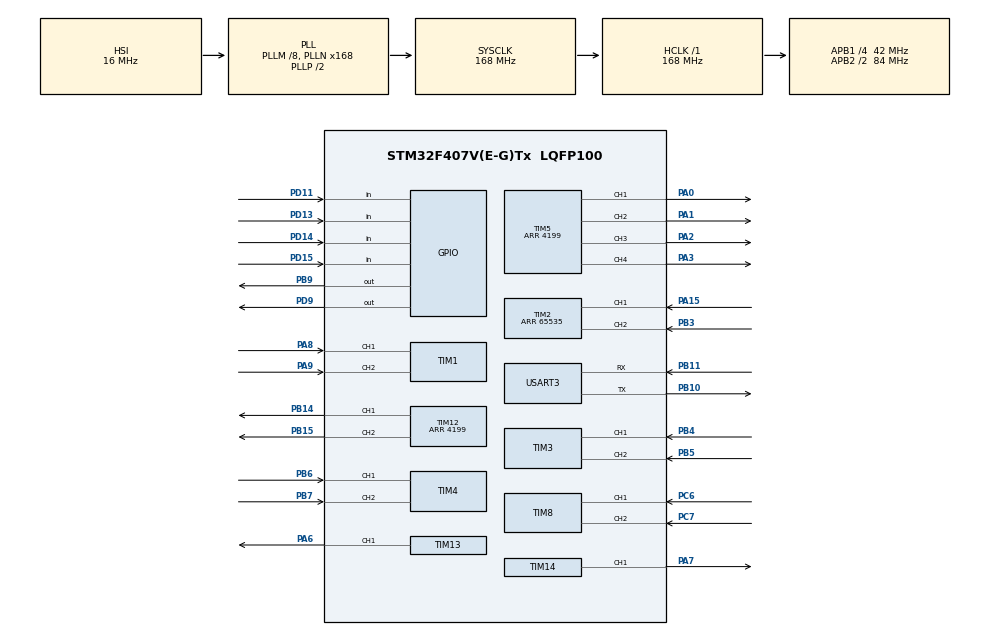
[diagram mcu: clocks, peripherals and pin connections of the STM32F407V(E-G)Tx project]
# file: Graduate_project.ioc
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Dma.Request0=USART3_RX
Dma.Request1=USART3_TX
Dma.USART3_RX.0.Direction=DMA_PERIPH_TO_MEMORY
Dma.USART3_RX.0.FIFOMode=DMA_FIFOMODE_DISABLE
Dma.USART3_RX.0.Instance=DMA1_Stream1
Dma.USART3_RX.0.MemDataAlignment=DMA_MDATAALIGN_BYTE
Dma.USART3_RX.0.MemInc=DMA_MINC_ENABLE
Dma.USART3_RX.0.Mode=DMA_CIRCULAR
Dma.USART3_RX.0.PeriphDataAlignment=DMA_PDATAALIGN_BYTE
Dma.USART3_RX.0.PeriphInc=DMA_PINC_DISABLE
Dma.USART3_RX.0.Priority=DMA_PRIORITY_VERY_HIGH
Dma.USART3_TX.1.Direction=DMA_MEMORY_TO_PERIPH
Dma.USART3_TX.1.FIFOMode=DMA_FIFOMODE_DISABLE
Dma.USART3_TX.1.Instance=DMA1_Stream3
Dma.USART3_TX.1.MemDataAlignment=DMA_MDATAALIGN_BYTE
Dma.USART3_TX.1.MemInc=DMA_MINC_ENABLE
Dma.USART3_TX.1.Mode=DMA_NORMAL
Dma.USART3_TX.1.PeriphDataAlignment=DMA_PDATAALIGN_BYTE
Dma.USART3_TX.1.PeriphInc=DMA_PINC_DISABLE
Dma.USART3_TX.1.Priority=DMA_PRIORITY_HIGH
Mcu.Family=STM32F4
Mcu.Name=STM32F407V(E-G)Tx
Mcu.Package=LQFP100
NVIC.DMA1_Stream1_IRQn=true\:0\:0\:false\:false\:true\:false\:true\:true
NVIC.DMA1_Stream3_IRQn=true\:0\:0\:false\:false\:true\:false\:true\:true
NVIC.PriorityGroup=NVIC_PRIORITYGROUP_4
NVIC.TIM1_BRK_TIM9_IRQn=true\:0\:0\:false\:false\:true\:true\:true\:true
NVIC.USART3_IRQn=true\:0\:0\:false\:false\:true\:true\:true\:true
PA0-WKUP.Signal=S_TIM5_CH1
PA1.Signal=S_TIM5_CH2
PA15.Signal=S_TIM2_CH1_ETR
PA2.Signal=S_TIM5_CH3
PA3.Signal=S_TIM5_CH4
PA6.Signal=S_TIM13_CH1
PA7.Signal=S_TIM14_CH1
PA8.Signal=S_TIM1_CH1
PA9.Signal=S_TIM1_CH2
PB10.Mode=Asynchronous
PB10.Signal=USART3_TX
PB11.Mode=Asynchronous
PB11.Signal=USART3_RX
PB14.Signal=S_TIM12_CH1
PB15.Signal=S_TIM12_CH2
PB3.Signal=S_TIM2_CH2
PB4.Signal=S_TIM3_CH1
PB5.Signal=S_TIM3_CH2
PB6.Signal=S_TIM4_CH1
PB7.Signal=S_TIM4_CH2
PB9.Signal=GPIO_Output
PC6.Signal=S_TIM8_CH1
PC7.Signal=S_TIM8_CH2
PD11.GPIO_PuPd=GPIO_PULLUP
PD11.Signal=GPIO_Input
PD13.GPIO_PuPd=GPIO_PULLUP
PD13.Signal=GPIO_Input
PD14.GPIO_PuPd=GPIO_PULLUP
PD14.Signal=GPIO_Input
PD15.GPIO_PuPd=GPIO_PULLUP
PD15.Signal=GPIO_Input
PD9.GPIO_PuPd=GPIO_NOPULL
PD9.Signal=GPIO_Output
PH0-OSC_IN.Mode=HSE-External-Oscillator
PH0-OSC_IN.Signal=RCC_OSC_IN
PH1-OSC_OUT.Mode=HSE-External-Oscillator
PH1-OSC_OUT.Signal=RCC_OSC_OUT
ProjectManager.HeapSize=0x200
ProjectManager.StackSize=0x400
ProjectManager.TargetToolchain=MDK-ARM V5
RCC.48MHZClocksFreq_Value=84000000
RCC.AHBFreq_Value=168000000
RCC.APB1CLKDivider=RCC_HCLK_DIV4
RCC.APB1Freq_Value=42000000
RCC.APB1TimFreq_Value=84000000
RCC.APB2CLKDivider=RCC_HCLK_DIV2
RCC.APB2Freq_Value=84000000
RCC.APB2TimFreq_Value=168000000
RCC.CortexFreq_Value=168000000
RCC.HCLKFreq_Value=168000000
RCC.HSE_VALUE=25000000
RCC.HSI_VALUE=16000000
RCC.LSE_VALUE=32768
RCC.PLLM=8
RCC.PLLN=168
RCC.SYSCLKFreq_VALUE=168000000
RCC.SYSCLKSource=RCC_SYSCLKSOURCE_PLLCLK
RCC.VCOOutputFreq_Value=336000000
SH.S_TIM12_CH1.0=TIM12_CH1,PWM Generation1 CH1
SH.S_TIM12_CH2.0=TIM12_CH2,PWM Generation2 CH2
SH.S_TIM13_CH1.0=TIM13_CH1,PWM Generation1 CH1
SH.S_TIM14_CH1.0=TIM14_CH1,PWM Generation1 CH1
SH.S_TIM1_CH1.0=TIM1_CH1,Encoder_Interface
SH.S_TIM1_CH2.0=TIM1_CH2,Encoder_Interface
SH.S_TIM2_CH1_ETR.0=TIM2_CH1,Encoder_Interface
SH.S_TIM2_CH2.0=TIM2_CH2,Encoder_Interface
SH.S_TIM3_CH1.0=TIM3_CH1,Encoder_Interface
SH.S_TIM3_CH2.0=TIM3_CH2,Encoder_Interface
SH.S_TIM4_CH1.0=TIM4_CH1,Encoder_Interface
SH.S_TIM4_CH2.0=TIM4_CH2,Encoder_Interface
SH.S_TIM5_CH1.0=TIM5_CH1,PWM Generation1 CH1
SH.S_TIM5_CH2.0=TIM5_CH2,PWM Generation2 CH2
SH.S_TIM5_CH3.0=TIM5_CH3,PWM Generation3 CH3
SH.S_TIM5_CH4.0=TIM5_CH4,PWM Generation4 CH4
SH.S_TIM8_CH1.0=TIM8_CH1,Encoder_Interface
SH.S_TIM8_CH2.0=TIM8_CH2,Encoder_Interface
TIM1.EncoderMode=TIM_ENCODERMODE_TI12
TIM12.Channel-PWM\ Generation1\ CH1=TIM_CHANNEL_1
TIM12.Channel-PWM\ Generation2\ CH2=TIM_CHANNEL_2
TIM12.Period=4199
TIM13.Channel=TIM_CHANNEL_1
TIM13.Period=4199
TIM14.Channel=TIM_CHANNEL_1
TIM14.Period=4199
TIM2.EncoderMode=TIM_ENCODERMODE_TI12
TIM2.Period=65535
TIM3.EncoderMode=TIM_ENCODERMODE_TI12
TIM4.EncoderMode=TIM_ENCODERMODE_TI12
TIM5.Channel-PWM\ Generation1\ CH1=TIM_CHANNEL_1
TIM5.Channel-PWM\ Generation2\ CH2=TIM_CHANNEL_2
TIM5.Channel-PWM\ Generation3\ CH3=TIM_CHANNEL_3
TIM5.Channel-PWM\ Generation4\ CH4=TIM_CHANNEL_4
TIM5.Period=4199
TIM8.EncoderMode=TIM_ENCODERMODE_TI12
TIM9.Period=999
TIM9.Prescaler=167
USART3.VirtualMode=VM_ASYNC
VP_TIM13_VS_ClockSourceINT.Mode=Enable_Timer
VP_TIM14_VS_ClockSourceINT.Mode=Enable_Timer
VP_TIM9_VS_ClockSourceINT.Mode=Internal
board=custom

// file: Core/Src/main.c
/* USER CODE BEGIN Header */
/**
  ******************************************************************************
  * @file           : main.c
  * @brief          : Main program body
  ******************************************************************************
  * @attention
  *
  * Copyright (c) 2026 STMicroelectronics.
  * All rights reserved.
  *
  * This software is licensed under terms that can be found in the LICENSE file
  * in the root directory of this software component.
  * If no LICENSE file comes with this software, it is provided AS-IS.
  *
  ******************************************************************************
  */
/* USER CODE END Header */
#include "main.h"

/* USER CODE BEGIN Includes */
#include "motor.h"
#include "encoder.h"
#include "pid.h"
#include "trap_profile.h"
#include "comm.h"
#include "control.h"
#include "home_sen.h"
#include "gripper.h"
#include <math.h>
/* USER CODE END Includes */

/* USER CODE BEGIN PD */
/* ---- Cau hinh chung ---- */
#define PWM_LIMIT     4199           /* duty toi da = ARR cua TIM5/12/13/14 (PWM 20 kHz) */
/* He so doi chi dung cho gia tri MAC DINH luc khoi dong (VMAX/AMAX). Khi Connect, GUI gui lai toan bo cau hinh
   (VMAX, AMAX, DB, LIMIT, HPOS...) da doi ra counts theo Settings -> Encoder (data/robot_config.json) cua PC.
   Theo cau hinh hien tai: J1/J2 = 436800 counts/vong x dai 3:1, J3 = 76500 counts/vong, Z = 436800 counts / 8 mm. */
#define MM_Z(x)       ((x) * 436800.0f / 8.0f)              /* Z: mm -> counts  (54600 counts/mm) */
#define DEG_J12(x)    ((x) * 436800.0f * 3.0f / 360.0f)     /* J1, J2: do -> counts (3640 counts/do) */
#define DEG_J3(x)     ((x) * 76500.0f / 360.0f)             /* J3: do -> counts (212.5 counts/do) */

/* Vi tri gan cho encoder khi cham cam bien home KHONG dat o day nua: PC gui lenh "HPOS <id> <counts>" luc
   Connect/Apply, doi tu Settings -> Joint Limits + Home (do/mm) bang dung he so encoder cua PC. */
/* USER CODE END PD */

TIM_HandleTypeDef htim1;
TIM_HandleTypeDef htim2;
TIM_HandleTypeDef htim3;
TIM_HandleTypeDef htim4;
TIM_HandleTypeDef htim5;
TIM_HandleTypeDef htim8;
TIM_HandleTypeDef htim9;
TIM_HandleTypeDef htim12;
TIM_HandleTypeDef htim13;
TIM_HandleTypeDef htim14;

UART_HandleTypeDef huart3;
DMA_HandleTypeDef hdma_usart3_rx;
DMA_HandleTypeDef hdma_usart3_tx;

/* USER CODE BEGIN PV */
/* Cac module (dang struct): phan cung duoc truyen vao luc init trong USER CODE 2 */
static Motor_t       motor[CONTROL_COUNT];
static Encoder_t     encoder[CONTROL_COUNT];
static PID_t         pid[CONTROL_COUNT];
static TrapProfile_t trap[CONTROL_COUNT];
static Comm_t        comm;
static ControlSet_t  ctrl;
static HomeSen_t     home_sen[CONTROL_COUNT];     /* cam bien home, cung chi so voi dong co (0 = Motor 1 = Z ...) */
static Gripper_t     gripper;                     /* kep: PD9, HIGH = DONG */
/* USER CODE END PV */

void SystemClock_Config(void);
static void MX_GPIO_Init(void);
static void MX_DMA_Init(void);
static void MX_TIM1_Init(void);
static void MX_TIM3_Init(void);
static void MX_TIM4_Init(void);
static void MX_TIM5_Init(void);
static void MX_TIM8_Init(void);
static void MX_TIM9_Init(void);
static void MX_TIM12_Init(void);
static void MX_TIM13_Init(void);
static void MX_TIM14_Init(void);
static void MX_USART3_UART_Init(void);
static void MX_TIM2_Init(void);

/* USER CODE BEGIN 0 */
/* Callback HAL -> chuyen cho module tuong ung */
void HAL_TIM_PeriodElapsedCallback(TIM_HandleTypeDef *htim)
{
  if (htim->Instance == TIM9) ControlSet_Tick(&ctrl);       /* 1 kHz, ca 4 dong co */
}

void HAL_UART_TxCpltCallback(UART_HandleTypeDef *huart)
{
  Comm_TxCplt(&comm, huart);
}

void HAL_UART_ErrorCallback(UART_HandleTypeDef *huart)
{
  Comm_Error(&comm, huart);
}
/* USER CODE END 0 */

int main(void)
{

  /* MCU Configuration--------------------------------------------------------*/

  /* Reset of all peripherals, Initializes the Flash interface and the Systick. */
  HAL_Init();

  /* Configure the system clock */
  SystemClock_Config();

  /* Initialize all configured peripherals */
  MX_GPIO_Init();
  MX_DMA_Init();
  MX_TIM1_Init();
  MX_TIM3_Init();
  MX_TIM4_Init();
  MX_TIM5_Init();
  MX_TIM8_Init();
  MX_TIM9_Init();
  MX_TIM12_Init();
  MX_TIM13_Init();
  MX_TIM14_Init();
  MX_USART3_UART_Init();
  MX_TIM2_Init();
  /* USER CODE BEGIN 2 */
  /* Noi phan cung (CubeMX) vao tung dong co. EN chung = PB9 (HIGH ngay khi Motor_Init). */
  struct {
    TIM_HandleTypeDef *t_fwd; uint32_t ch_fwd;      /* RPWM */
    TIM_HandleTypeDef *t_rev; uint32_t ch_rev;      /* LPWM */
    TIM_HandleTypeDef *t_enc; int8_t   enc_sign;    /* encoder x4; sign = -1 neu dem nguoc chieu quay duong */
    float vmax, amax;                               /* mac dinh (counts/s, counts/s^2), GUI se gui lai khi Connect */
    int32_t deadband;                               /* vung chet mac dinh (counts) */
  } cfg[CONTROL_COUNT] = {
    { &htim12, TIM_CHANNEL_1, &htim13, TIM_CHANNEL_1, &htim8, +1, MM_Z(5.0f),     MM_Z(20.0f),     191 },  /* Motor 1: Z  vit-me (mm) */
    { &htim5,  TIM_CHANNEL_3, &htim5,  TIM_CHANNEL_1, &htim2, -1, DEG_J12(30.0f), DEG_J12(60.0f),    5 },  /* Motor 2: J1 (do)        */
    { &htim5,  TIM_CHANNEL_2, &htim5,  TIM_CHANNEL_4, &htim3, +1, DEG_J12(30.0f), DEG_J12(60.0f),    5 },  /* Motor 3: J2 (do)        */
    { &htim14, TIM_CHANNEL_1, &htim12, TIM_CHANNEL_2, &htim4, -1, DEG_J3(30.0f),  DEG_J3(60.0f),     5 },  /* Motor 4: J3 (do)        */
  };

  Comm_Init(&comm, &huart3, ControlSet_OnLine, &ctrl);       /* USART3 + DMA */
  ControlSet_Init(&ctrl, &comm);
  for (int i = 0; i < CONTROL_COUNT; i++) {
    Motor_Init(&motor[i], cfg[i].t_fwd, cfg[i].ch_fwd, cfg[i].t_rev, cfg[i].ch_rev, GPIOB, GPIO_PIN_9, PWM_LIMIT);
    Encoder_Init(&encoder[i], cfg[i].t_enc, cfg[i].enc_sign);
    PID_Init(&pid[i], 4.2f, 0.0f, 0.0f, (float)PWM_LIMIT);   /* Kp, Ki, Kd mac dinh (GUI se gui lai khi Connect) */
    TrapProfile_Init(&trap[i], cfg[i].vmax, cfg[i].amax);
    Control_Init(&ctrl.m[i], (uint8_t)(i + 1), &motor[i], &encoder[i], &pid[i], &trap[i], &comm, cfg[i].deadband);
  }

  /* Bao ve KET / QUA TAI (FAULT stall, xem control.h): |PWM| trung binh >= 70 % ma trong 0,5 s truc di chua duoc quang
     duoi day -> phanh + FAULT. Day la MAC DINH luc khoi dong; khi Connect PC gui lai bang lenh STALL (Settings -> Fault). */
  Control_SetStallDist(&ctrl.m[0], (int32_t)MM_Z(0.2f));        /* Motor 1: Z  0,2 mm */
  Control_SetStallDist(&ctrl.m[1], (int32_t)DEG_J12(0.5f));     /* Motor 2: J1 0,5 do */
  Control_SetStallDist(&ctrl.m[2], (int32_t)DEG_J12(0.5f));     /* Motor 3: J2 0,5 do */
  Control_SetStallDist(&ctrl.m[3], (int32_t)DEG_J3(0.5f));      /* Motor 4: J3 0,5 do */

  /* ---- Cam bien HOME (lenh "HOMING <id>" tu PC; xem home_sen.h) ----
     HomeSen_Init(cam bien, port, chan, toc do tim (% VMAX), chieu tim, timeout (ms))
       - vi tri home : KHONG dat o day -- PC gui "HPOS <id> <counts>" (Settings -> Joint Limits + Home, cot Home)
       - toc do tim  : % cua VMAX dang dung (GUI gui VMAX luc Connect), nen de cham (vd 50..80)
       - chieu tim   : +1 = chay theo chieu counts TANG, -1 = GIAM (tinh theo counts cua firmware,
                       chua tinh Direction Normal/Reverse ben PC; neu chay nham chieu thi doi dau o day)
       - timeout     : qua ngan nay ma chua cham thi FAULT home. Z cham hon nen can lau hon: hanh trinh 150 mm
                       o 80% x 5 mm/s = 4 mm/s mat ~38 s.
     Truc nao CHUA co cam bien: comment dong HomeSen_Init cua truc do (vong lap Control_SetHome ben duoi tu bo qua).
     Khi do firmware tra "ERR HOMING <id> nosensor" va PC bo qua truc do luc HOME (khong bao loi); truc do giu moc vi tri
     luc cap nguon. Lap xong cam bien thi bo comment la dung. */
  /* TAM TAT Z de test HOME 3 truc J1/J2/J3: PC bo qua Z (nosensor), Z khong nhan lenh nen PID tat, motor dung yen.
     Test xong thi bo comment dong duoi. */
  /* HomeSen_Init(&home_sen[0], GPIOD, GPIO_PIN_14, 60, +1, 60000); */   /* Motor 1: Z  (len)  */
  HomeSen_Init(&home_sen[1], GPIOD, GPIO_PIN_15, 60, -1, 10000);   /* Motor 2: J1 (giam) */
  HomeSen_Init(&home_sen[2], GPIOD, GPIO_PIN_13, 60, -1, 10000);   /* Motor 3: J2 (giam) */
  HomeSen_Init(&home_sen[3], GPIOD, GPIO_PIN_11, 80, -1, 10000);   /* Motor 4: J3 (giam) */
  for (int i = 0; i < CONTROL_COUNT; i++)
    if (home_sen[i].port != NULL) Control_SetHome(&ctrl.m[i], &home_sen[i]);          /* chi gan cho cam bien da HomeSen_Init */

  /* ---- Kep (lenh "GRIP <0|1>" tu PC): PD9 output (CubeMX), HIGH = DONG, khoi dong = MO ---- */
  Gripper_Init(&gripper, GPIOD, GPIO_PIN_9, GPIO_PIN_SET);
  ControlSet_SetGripper(&ctrl, &gripper);

  /* Uu tien ngat: vong dieu khien TIM9 cao nhat, UART/DMA thap hon (khong can sua CubeMX) */
  HAL_NVIC_SetPriority(TIM1_BRK_TIM9_IRQn, 0, 0);
  HAL_NVIC_SetPriority(USART3_IRQn, 1, 0);
  HAL_NVIC_SetPriority(DMA1_Stream1_IRQn, 1, 0);
  HAL_NVIC_SetPriority(DMA1_Stream3_IRQn, 1, 0);

  HAL_TIM_Base_Start_IT(&htim9);                             /* 1 kHz: ControlSet_Tick() */
  Comm_SendStr(&comm, "BOOT\n");
  /* USER CODE END 2 */

  /* Infinite loop */
  while (1)
  {

    /* USER CODE BEGIN 3 */
    ControlSet_Poll(&ctrl);   /* FAULT + telemetry 50 Hz cua dong co duoc chon -> hang doi TX */
    Comm_Poll(&comm);      /* RX: tach dong + thuc thi lenh; TX: day hang doi ra UART bang DMA */
  }
  /* USER CODE END 3 */
}

void SystemClock_Config(void)
{
  RCC_OscInitTypeDef RCC_OscInitStruct = {0};
  RCC_ClkInitTypeDef RCC_ClkInitStruct = {0};

  /** Configure the main internal regulator output voltage
  */
  __HAL_RCC_PWR_CLK_ENABLE();
  __HAL_PWR_VOLTAGESCALING_CONFIG(PWR_REGULATOR_VOLTAGE_SCALE1);

  /** Initializes the RCC Oscillators according to the specified parameters
  * in the RCC_OscInitTypeDef structure.
  */
  RCC_OscInitStruct.OscillatorType = RCC_OSCILLATORTYPE_HSI;
  RCC_OscInitStruct.HSIState = RCC_HSI_ON;
  RCC_OscInitStruct.HSICalibrationValue = RCC_HSICALIBRATION_DEFAULT;
  RCC_OscInitStruct.PLL.PLLState = RCC_PLL_ON;
  RCC_OscInitStruct.PLL.PLLSource = RCC_PLLSOURCE_HSI;
  RCC_OscInitStruct.PLL.PLLM = 8;
  RCC_OscInitStruct.PLL.PLLN = 168;
  RCC_OscInitStruct.PLL.PLLP = RCC_PLLP_DIV2;
  RCC_OscInitStruct.PLL.PLLQ = 4;
  if (HAL_RCC_OscConfig(&RCC_OscInitStruct) != HAL_OK)
  {
    Error_Handler();
  }

  /** Initializes the CPU, AHB and APB buses clocks
  */
  RCC_ClkInitStruct.ClockType = RCC_CLOCKTYPE_HCLK|RCC_CLOCKTYPE_SYSCLK
                              |RCC_CLOCKTYPE_PCLK1|RCC_CLOCKTYPE_PCLK2;
  RCC_ClkInitStruct.SYSCLKSource = RCC_SYSCLKSOURCE_PLLCLK;
  RCC_ClkInitStruct.AHBCLKDivider = RCC_SYSCLK_DIV1;
  RCC_ClkInitStruct.APB1CLKDivider = RCC_HCLK_DIV4;
  RCC_ClkInitStruct.APB2CLKDivider = RCC_HCLK_DIV2;

  if (HAL_RCC_ClockConfig(&RCC_ClkInitStruct, FLASH_LATENCY_5) != HAL_OK)
  {
    Error_Handler();
  }
}

static void MX_TIM1_Init(void)
{

  TIM_Encoder_InitTypeDef sConfig = {0};
  TIM_MasterConfigTypeDef sMasterConfig = {0};

  htim1.Instance = TIM1;
  htim1.Init.Prescaler = 0;
  htim1.Init.CounterMode = TIM_COUNTERMODE_UP;
  htim1.Init.Period = 65535;
  htim1.Init.ClockDivision = TIM_CLOCKDIVISION_DIV1;
  htim1.Init.RepetitionCounter = 0;
  htim1.Init.AutoReloadPreload = TIM_AUTORELOAD_PRELOAD_DISABLE;
  sConfig.EncoderMode = TIM_ENCODERMODE_TI12;
  sConfig.IC1Polarity = TIM_ICPOLARITY_RISING;
  sConfig.IC1Selection = TIM_ICSELECTION_DIRECTTI;
  sConfig.IC1Prescaler = TIM_ICPSC_DIV1;
  sConfig.IC1Filter = 0;
  sConfig.IC2Polarity = TIM_ICPOLARITY_RISING;
  sConfig.IC2Selection = TIM_ICSELECTION_DIRECTTI;
  sConfig.IC2Prescaler = TIM_ICPSC_DIV1;
  sConfig.IC2Filter = 0;
  if (HAL_TIM_Encoder_Init(&htim1, &sConfig) != HAL_OK)
  {
    Error_Handler();
  }
  sMasterConfig.MasterOutputTrigger = TIM_TRGO_RESET;
  sMasterConfig.MasterSlaveMode = TIM_MASTERSLAVEMODE_DISABLE;
  if (HAL_TIMEx_MasterConfigSynchronization(&htim1, &sMasterConfig) != HAL_OK)
  {
    Error_Handler();
  }

}

static void MX_TIM2_Init(void)
{

  TIM_Encoder_InitTypeDef sConfig = {0};
  TIM_MasterConfigTypeDef sMasterConfig = {0};

  htim2.Instance = TIM2;
  htim2.Init.Prescaler = 0;
  htim2.Init.CounterMode = TIM_COUNTERMODE_UP;
  htim2.Init.Period = 65535;
  htim2.Init.ClockDivision = TIM_CLOCKDIVISION_DIV1;
  htim2.Init.AutoReloadPreload = TIM_AUTORELOAD_PRELOAD_DISABLE;
  sConfig.EncoderMode = TIM_ENCODERMODE_TI12;
  sConfig.IC1Polarity = TIM_ICPOLARITY_RISING;
  sConfig.IC1Selection = TIM_ICSELECTION_DIRECTTI;
  sConfig.IC1Prescaler = TIM_ICPSC_DIV1;
  sConfig.IC1Filter = 0;
  sConfig.IC2Polarity = TIM_ICPOLARITY_RISING;
  sConfig.IC2Selection = TIM_ICSELECTION_DIRECTTI;
  sConfig.IC2Prescaler = TIM_ICPSC_DIV1;
  sConfig.IC2Filter = 0;
  if (HAL_TIM_Encoder_Init(&htim2, &sConfig) != HAL_OK)
  {
    Error_Handler();
  }
  sMasterConfig.MasterOutputTrigger = TIM_TRGO_RESET;
  sMasterConfig.MasterSlaveMode = TIM_MASTERSLAVEMODE_DISABLE;
  if (HAL_TIMEx_MasterConfigSynchronization(&htim2, &sMasterConfig) != HAL_OK)
  {
    Error_Handler();
  }

}

static void MX_TIM3_Init(void)
{

  TIM_Encoder_InitTypeDef sConfig = {0};
  TIM_MasterConfigTypeDef sMasterConfig = {0};

  htim3.Instance = TIM3;
  htim3.Init.Prescaler = 0;
  htim3.Init.CounterMode = TIM_COUNTERMODE_UP;
  htim3.Init.Period = 65535;
  htim3.Init.ClockDivision = TIM_CLOCKDIVISION_DIV1;
  htim3.Init.AutoReloadPreload = TIM_AUTORELOAD_PRELOAD_DISABLE;
  sConfig.EncoderMode = TIM_ENCODERMODE_TI12;
  sConfig.IC1Polarity = TIM_ICPOLARITY_RISING;
  sConfig.IC1Selection = TIM_ICSELECTION_DIRECTTI;
  sConfig.IC1Prescaler = TIM_ICPSC_DIV1;
  sConfig.IC1Filter = 0;
  sConfig.IC2Polarity = TIM_ICPOLARITY_RISING;
  sConfig.IC2Selection = TIM_ICSELECTION_DIRECTTI;
  sConfig.IC2Prescaler = TIM_ICPSC_DIV1;
  sConfig.IC2Filter = 0;
  if (HAL_TIM_Encoder_Init(&htim3, &sConfig) != HAL_OK)
  {
    Error_Handler();
  }
  sMasterConfig.MasterOutputTrigger = TIM_TRGO_RESET;
  sMasterConfig.MasterSlaveMode = TIM_MASTERSLAVEMODE_DISABLE;
  if (HAL_TIMEx_MasterConfigSynchronization(&htim3, &sMasterConfig) != HAL_OK)
  {
    Error_Handler();
  }

}

static void MX_TIM4_Init(void)
{

  TIM_Encoder_InitTypeDef sConfig = {0};
  TIM_MasterConfigTypeDef sMasterConfig = {0};

  htim4.Instance = TIM4;
  htim4.Init.Prescaler = 0;
  htim4.Init.CounterMode = TIM_COUNTERMODE_UP;
  htim4.Init.Period = 65535;
  htim4.Init.ClockDivision = TIM_CLOCKDIVISION_DIV1;
  htim4.Init.AutoReloadPreload = TIM_AUTORELOAD_PRELOAD_DISABLE;
  sConfig.EncoderMode = TIM_ENCODERMODE_TI12;
  sConfig.IC1Polarity = TIM_ICPOLARITY_RISING;
  sConfig.IC1Selection = TIM_ICSELECTION_DIRECTTI;
  sConfig.IC1Prescaler = TIM_ICPSC_DIV1;
  sConfig.IC1Filter = 0;
  sConfig.IC2Polarity = TIM_ICPOLARITY_RISING;
  sConfig.IC2Selection = TIM_ICSELECTION_DIRECTTI;
  sConfig.IC2Prescaler = TIM_ICPSC_DIV1;
  sConfig.IC2Filter = 0;
  if (HAL_TIM_Encoder_Init(&htim4, &sConfig) != HAL_OK)
  {
    Error_Handler();
  }
  sMasterConfig.MasterOutputTrigger = TIM_TRGO_RESET;
  sMasterConfig.MasterSlaveMode = TIM_MASTERSLAVEMODE_DISABLE;
  if (HAL_TIMEx_MasterConfigSynchronization(&htim4, &sMasterConfig) != HAL_OK)
  {
    Error_Handler();
  }

}

static void MX_TIM5_Init(void)
{

  TIM_MasterConfigTypeDef sMasterConfig = {0};
  TIM_OC_InitTypeDef sConfigOC = {0};

  htim5.Instance = TIM5;
  htim5.Init.Prescaler = 0;
  htim5.Init.CounterMode = TIM_COUNTERMODE_UP;
  htim5.Init.Period = 4199;
  htim5.Init.ClockDivision = TIM_CLOCKDIVISION_DIV1;
  htim5.Init.AutoReloadPreload = TIM_AUTORELOAD_PRELOAD_DISABLE;
  if (HAL_TIM_PWM_Init(&htim5) != HAL_OK)
  {
    Error_Handler();
  }
  sMasterConfig.MasterOutputTrigger = TIM_TRGO_RESET;
  sMasterConfig.MasterSlaveMode = TIM_MASTERSLAVEMODE_DISABLE;
  if (HAL_TIMEx_MasterConfigSynchronization(&htim5, &sMasterConfig) != HAL_OK)
  {
    Error_Handler();
  }
  sConfigOC.OCMode = TIM_OCMODE_PWM1;
  sConfigOC.Pulse = 0;
  sConfigOC.OCPolarity = TIM_OCPOLARITY_HIGH;
  sConfigOC.OCFastMode = TIM_OCFAST_DISABLE;
  if (HAL_TIM_PWM_ConfigChannel(&htim5, &sConfigOC, TIM_CHANNEL_1) != HAL_OK)
  {
    Error_Handler();
  }
  if (HAL_TIM_PWM_ConfigChannel(&htim5, &sConfigOC, TIM_CHANNEL_2) != HAL_OK)
  {
    Error_Handler();
  }
  if (HAL_TIM_PWM_ConfigChannel(&htim5, &sConfigOC, TIM_CHANNEL_3) != HAL_OK)
  {
    Error_Handler();
  }
  if (HAL_TIM_PWM_ConfigChannel(&htim5, &sConfigOC, TIM_CHANNEL_4) != HAL_OK)
  {
    Error_Handler();
  }
  HAL_TIM_MspPostInit(&htim5);

}

static void MX_TIM8_Init(void)
{

  TIM_Encoder_InitTypeDef sConfig = {0};
  TIM_MasterConfigTypeDef sMasterConfig = {0};

  htim8.Instance = TIM8;
  htim8.Init.Prescaler = 0;
  htim8.Init.CounterMode = TIM_COUNTERMODE_UP;
  htim8.Init.Period = 65535;
  htim8.Init.ClockDivision = TIM_CLOCKDIVISION_DIV1;
  htim8.Init.RepetitionCounter = 0;
  htim8.Init.AutoReloadPreload = TIM_AUTORELOAD_PRELOAD_DISABLE;
  sConfig.EncoderMode = TIM_ENCODERMODE_TI12;
  sConfig.IC1Polarity = TIM_ICPOLARITY_RISING;
  sConfig.IC1Selection = TIM_ICSELECTION_DIRECTTI;
  sConfig.IC1Prescaler = TIM_ICPSC_DIV1;
  sConfig.IC1Filter = 0;
  sConfig.IC2Polarity = TIM_ICPOLARITY_RISING;
  sConfig.IC2Selection = TIM_ICSELECTION_DIRECTTI;
  sConfig.IC2Prescaler = TIM_ICPSC_DIV1;
  sConfig.IC2Filter = 0;
  if (HAL_TIM_Encoder_Init(&htim8, &sConfig) != HAL_OK)
  {
    Error_Handler();
  }
  sMasterConfig.MasterOutputTrigger = TIM_TRGO_RESET;
  sMasterConfig.MasterSlaveMode = TIM_MASTERSLAVEMODE_DISABLE;
  if (HAL_TIMEx_MasterConfigSynchronization(&htim8, &sMasterConfig) != HAL_OK)
  {
    Error_Handler();
  }

}

static void MX_TIM9_Init(void)
{

  TIM_ClockConfigTypeDef sClockSourceConfig = {0};

  htim9.Instance = TIM9;
  htim9.Init.Prescaler = 167;
  htim9.Init.CounterMode = TIM_COUNTERMODE_UP;
  htim9.Init.Period = 999;
  htim9.Init.ClockDivision = TIM_CLOCKDIVISION_DIV1;
  htim9.Init.AutoReloadPreload = TIM_AUTORELOAD_PRELOAD_DISABLE;
  if (HAL_TIM_Base_Init(&htim9) != HAL_OK)
  {
    Error_Handler();
  }
  sClockSourceConfig.ClockSource = TIM_CLOCKSOURCE_INTERNAL;
  if (HAL_TIM_ConfigClockSource(&htim9, &sClockSourceConfig) != HAL_OK)
  {
    Error_Handler();
  }

}

static void MX_TIM12_Init(void)
{

  TIM_OC_InitTypeDef sConfigOC = {0};

  htim12.Instance = TIM12;
  htim12.Init.Prescaler = 0;
  htim12.Init.CounterMode = TIM_COUNTERMODE_UP;
  htim12.Init.Period = 4199;
  htim12.Init.ClockDivision = TIM_CLOCKDIVISION_DIV1;
  htim12.Init.AutoReloadPreload = TIM_AUTORELOAD_PRELOAD_DISABLE;
  if (HAL_TIM_PWM_Init(&htim12) != HAL_OK)
  {
    Error_Handler();
  }
  sConfigOC.OCMode = TIM_OCMODE_PWM1;
  sConfigOC.Pulse = 0;
  sConfigOC.OCPolarity = TIM_OCPOLARITY_HIGH;
  sConfigOC.OCFastMode = TIM_OCFAST_DISABLE;
  if (HAL_TIM_PWM_ConfigChannel(&htim12, &sConfigOC, TIM_CHANNEL_1) != HAL_OK)
  {
    Error_Handler();
  }
  if (HAL_TIM_PWM_ConfigChannel(&htim12, &sConfigOC, TIM_CHANNEL_2) != HAL_OK)
  {
    Error_Handler();
  }
  HAL_TIM_MspPostInit(&htim12);

}

static void MX_TIM13_Init(void)
{

  TIM_OC_InitTypeDef sConfigOC = {0};

  htim13.Instance = TIM13;
  htim13.Init.Prescaler = 0;
  htim13.Init.CounterMode = TIM_COUNTERMODE_UP;
  htim13.Init.Period = 4199;
  htim13.Init.ClockDivision = TIM_CLOCKDIVISION_DIV1;
  htim13.Init.AutoReloadPreload = TIM_AUTORELOAD_PRELOAD_DISABLE;
  if (HAL_TIM_Base_Init(&htim13) != HAL_OK)
  {
    Error_Handler();
  }
  if (HAL_TIM_PWM_Init(&htim13) != HAL_OK)
  {
    Error_Handler();
  }
  sConfigOC.OCMode = TIM_OCMODE_PWM1;
  sConfigOC.Pulse = 0;
  sConfigOC.OCPolarity = TIM_OCPOLARITY_HIGH;
  sConfigOC.OCFastMode = TIM_OCFAST_DISABLE;
  if (HAL_TIM_PWM_ConfigChannel(&htim13, &sConfigOC, TIM_CHANNEL_1) != HAL_OK)
  {
    Error_Handler();
  }
  HAL_TIM_MspPostInit(&htim13);

}

static void MX_TIM14_Init(void)
{

  TIM_OC_InitTypeDef sConfigOC = {0};

  htim14.Instance = TIM14;
  htim14.Init.Prescaler = 0;
  htim14.Init.CounterMode = TIM_COUNTERMODE_UP;
  htim14.Init.Period = 4199;
  htim14.Init.ClockDivision = TIM_CLOCKDIVISION_DIV1;
  htim14.Init.AutoReloadPreload = TIM_AUTORELOAD_PRELOAD_DISABLE;
  if (HAL_TIM_Base_Init(&htim14) != HAL_OK)
  {
    Error_Handler();
  }
  if (HAL_TIM_PWM_Init(&htim14) != HAL_OK)
  {
    Error_Handler();
  }
  sConfigOC.OCMode = TIM_OCMODE_PWM1;
  sConfigOC.Pulse = 0;
  sConfigOC.OCPolarity = TIM_OCPOLARITY_HIGH;
  sConfigOC.OCFastMode = TIM_OCFAST_DISABLE;
  if (HAL_TIM_PWM_ConfigChannel(&htim14, &sConfigOC, TIM_CHANNEL_1) != HAL_OK)
  {
    Error_Handler();
  }
  HAL_TIM_MspPostInit(&htim14);

}

static void MX_USART3_UART_Init(void)
{

  huart3.Instance = USART3;
  huart3.Init.BaudRate = 115200;
  huart3.Init.WordLength = UART_WORDLENGTH_8B;
  huart3.Init.StopBits = UART_STOPBITS_1;
  huart3.Init.Parity = UART_PARITY_NONE;
  huart3.Init.Mode = UART_MODE_TX_RX;
  huart3.Init.HwFlowCtl = UART_HWCONTROL_NONE;
  huart3.Init.OverSampling = UART_OVERSAMPLING_16;
  if (HAL_UART_Init(&huart3) != HAL_OK)
  {
    Error_Handler();
  }

}

static void MX_DMA_Init(void)
{

  /* DMA controller clock enable */
  __HAL_RCC_DMA1_CLK_ENABLE();

  /* DMA interrupt init */
  /* DMA1_Stream1_IRQn interrupt configuration */
  HAL_NVIC_SetPriority(DMA1_Stream1_IRQn, 0, 0);
  HAL_NVIC_EnableIRQ(DMA1_Stream1_IRQn);
  /* DMA1_Stream3_IRQn interrupt configuration */
  HAL_NVIC_SetPriority(DMA1_Stream3_IRQn, 0, 0);
  HAL_NVIC_EnableIRQ(DMA1_Stream3_IRQn);

}

static void MX_GPIO_Init(void)
{
  GPIO_InitTypeDef GPIO_InitStruct = {0};

  /* GPIO Ports Clock Enable */
  __HAL_RCC_GPIOH_CLK_ENABLE();
  __HAL_RCC_GPIOA_CLK_ENABLE();
  __HAL_RCC_GPIOB_CLK_ENABLE();
  __HAL_RCC_GPIOD_CLK_ENABLE();
  __HAL_RCC_GPIOC_CLK_ENABLE();

  /*Configure GPIO pin Output Level */
  HAL_GPIO_WritePin(GPIOD, GPIO_PIN_9, GPIO_PIN_RESET);

  /*Configure GPIO pin Output Level */
  HAL_GPIO_WritePin(GPIOB, GPIO_PIN_9, GPIO_PIN_RESET);

  /*Configure GPIO pin : PD9 */
  GPIO_InitStruct.Pin = GPIO_PIN_9;
  GPIO_InitStruct.Mode = GPIO_MODE_OUTPUT_PP;
  GPIO_InitStruct.Pull = GPIO_NOPULL;
  GPIO_InitStruct.Speed = GPIO_SPEED_FREQ_LOW;
  HAL_GPIO_Init(GPIOD, &GPIO_InitStruct);

  /*Configure GPIO pins : PD11 PD13 PD14 PD15 */
  GPIO_InitStruct.Pin = GPIO_PIN_11|GPIO_PIN_13|GPIO_PIN_14|GPIO_PIN_15;
  GPIO_InitStruct.Mode = GPIO_MODE_INPUT;
  GPIO_InitStruct.Pull = GPIO_PULLUP;
  HAL_GPIO_Init(GPIOD, &GPIO_InitStruct);

  /*Configure GPIO pin : PB9 */
  GPIO_InitStruct.Pin = GPIO_PIN_9;
  GPIO_InitStruct.Mode = GPIO_MODE_OUTPUT_PP;
  GPIO_InitStruct.Pull = GPIO_NOPULL;
  GPIO_InitStruct.Speed = GPIO_SPEED_FREQ_LOW;
  HAL_GPIO_Init(GPIOB, &GPIO_InitStruct);

}

void Error_Handler(void)
{
  __disable_irq();
  while (1)
  {
  }
}
